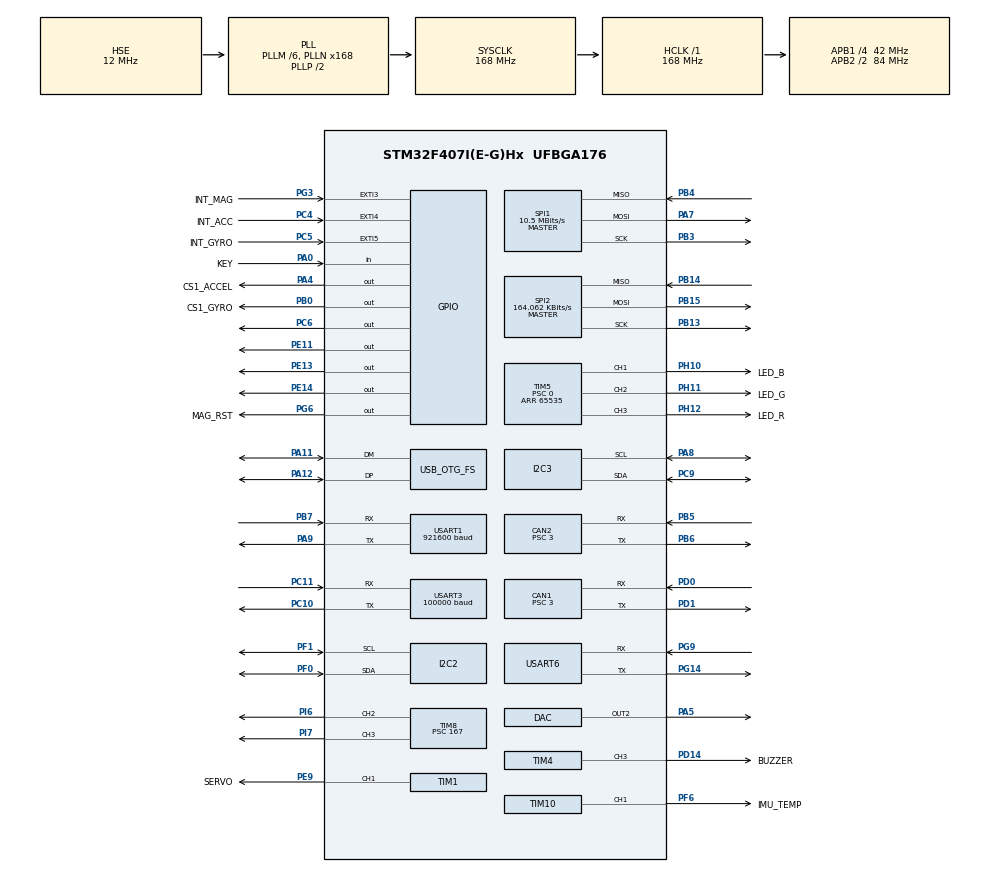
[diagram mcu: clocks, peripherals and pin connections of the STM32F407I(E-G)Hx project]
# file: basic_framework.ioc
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ADC1.Channel-0\#ChannelRegularConversion=ADC_CHANNEL_TEMPSENSOR
ADC1.ClockPrescaler=ADC_CLOCK_SYNC_PCLK_DIV6
ADC1.NbrOfConversionFlag=1
ADC1.Rank-0\#ChannelRegularConversion=1
ADC1.SamplingTime-0\#ChannelRegularConversion=ADC_SAMPLETIME_3CYCLES
ADC1.master=1
CAN1.BS1=CAN_BS1_10TQ
CAN1.BS2=CAN_BS2_3TQ
CAN1.CalculateBaudRate=1000000
CAN1.CalculateTimeQuantum=71.42857142857143
CAN1.NART=ENABLE
CAN1.Prescaler=3
CAN1.TXFP=ENABLE
CAN2.BS1=CAN_BS1_10TQ
CAN2.BS2=CAN_BS2_3TQ
CAN2.CalculateBaudRate=1000000
CAN2.CalculateTimeQuantum=71.42857142857143
CAN2.NART=ENABLE
CAN2.Prescaler=3
CAN2.TXFP=ENABLE
Dma.I2C2_RX.6.Direction=DMA_PERIPH_TO_MEMORY
Dma.I2C2_RX.6.FIFOMode=DMA_FIFOMODE_DISABLE
Dma.I2C2_RX.6.Instance=DMA1_Stream2
Dma.I2C2_RX.6.MemDataAlignment=DMA_MDATAALIGN_BYTE
Dma.I2C2_RX.6.MemInc=DMA_MINC_ENABLE
Dma.I2C2_RX.6.Mode=DMA_NORMAL
Dma.I2C2_RX.6.PeriphDataAlignment=DMA_PDATAALIGN_BYTE
Dma.I2C2_RX.6.PeriphInc=DMA_PINC_DISABLE
Dma.I2C2_RX.6.Priority=DMA_PRIORITY_LOW
Dma.I2C2_TX.7.Direction=DMA_MEMORY_TO_PERIPH
Dma.I2C2_TX.7.FIFOMode=DMA_FIFOMODE_DISABLE
Dma.I2C2_TX.7.Instance=DMA1_Stream7
Dma.I2C2_TX.7.MemDataAlignment=DMA_MDATAALIGN_BYTE
Dma.I2C2_TX.7.MemInc=DMA_MINC_ENABLE
Dma.I2C2_TX.7.Mode=DMA_NORMAL
Dma.I2C2_TX.7.PeriphDataAlignment=DMA_PDATAALIGN_BYTE
Dma.I2C2_TX.7.PeriphInc=DMA_PINC_DISABLE
Dma.I2C2_TX.7.Priority=DMA_PRIORITY_LOW
Dma.Request0=USART6_RX
Dma.Request1=USART6_TX
Dma.Request2=USART1_TX
Dma.Request3=USART1_RX
Dma.Request4=SPI1_RX
Dma.Request5=USART3_RX
Dma.Request6=I2C2_RX
Dma.Request7=I2C2_TX
Dma.Request8=SPI1_TX
Dma.SPI1_RX.4.Direction=DMA_PERIPH_TO_MEMORY
Dma.SPI1_RX.4.FIFOMode=DMA_FIFOMODE_ENABLE
Dma.SPI1_RX.4.FIFOThreshold=DMA_FIFO_THRESHOLD_FULL
Dma.SPI1_RX.4.Instance=DMA2_Stream0
Dma.SPI1_RX.4.MemBurst=DMA_MBURST_SINGLE
Dma.SPI1_RX.4.MemDataAlignment=DMA_MDATAALIGN_BYTE
Dma.SPI1_RX.4.MemInc=DMA_MINC_ENABLE
Dma.SPI1_RX.4.Mode=DMA_NORMAL
Dma.SPI1_RX.4.PeriphBurst=DMA_PBURST_SINGLE
Dma.SPI1_RX.4.PeriphDataAlignment=DMA_PDATAALIGN_BYTE
Dma.SPI1_RX.4.PeriphInc=DMA_PINC_DISABLE
Dma.SPI1_RX.4.Priority=DMA_PRIORITY_HIGH
Dma.SPI1_TX.8.Direction=DMA_MEMORY_TO_PERIPH
Dma.SPI1_TX.8.FIFOMode=DMA_FIFOMODE_DISABLE
Dma.SPI1_TX.8.Instance=DMA2_Stream3
Dma.SPI1_TX.8.MemDataAlignment=DMA_MDATAALIGN_BYTE
Dma.SPI1_TX.8.MemInc=DMA_MINC_ENABLE
Dma.SPI1_TX.8.Mode=DMA_NORMAL
Dma.SPI1_TX.8.PeriphDataAlignment=DMA_PDATAALIGN_BYTE
Dma.SPI1_TX.8.PeriphInc=DMA_PINC_DISABLE
Dma.SPI1_TX.8.Priority=DMA_PRIORITY_HIGH
Dma.USART1_RX.3.Direction=DMA_PERIPH_TO_MEMORY
Dma.USART1_RX.3.FIFOMode=DMA_FIFOMODE_DISABLE
Dma.USART1_RX.3.Instance=DMA2_Stream5
Dma.USART1_RX.3.MemDataAlignment=DMA_MDATAALIGN_BYTE
Dma.USART1_RX.3.MemInc=DMA_MINC_ENABLE
Dma.USART1_RX.3.Mode=DMA_NORMAL
Dma.USART1_RX.3.PeriphDataAlignment=DMA_PDATAALIGN_BYTE
Dma.USART1_RX.3.PeriphInc=DMA_PINC_DISABLE
Dma.USART1_RX.3.Priority=DMA_PRIORITY_VERY_HIGH
Dma.USART1_TX.2.Direction=DMA_MEMORY_TO_PERIPH
Dma.USART1_TX.2.FIFOMode=DMA_FIFOMODE_DISABLE
Dma.USART1_TX.2.Instance=DMA2_Stream7
Dma.USART1_TX.2.MemDataAlignment=DMA_MDATAALIGN_BYTE
Dma.USART1_TX.2.MemInc=DMA_MINC_ENABLE
Dma.USART1_TX.2.Mode=DMA_NORMAL
Dma.USART1_TX.2.PeriphDataAlignment=DMA_PDATAALIGN_BYTE
Dma.USART1_TX.2.PeriphInc=DMA_PINC_DISABLE
Dma.USART1_TX.2.Priority=DMA_PRIORITY_VERY_HIGH
Dma.USART3_RX.5.Direction=DMA_PERIPH_TO_MEMORY
Dma.USART3_RX.5.FIFOMode=DMA_FIFOMODE_DISABLE
Dma.USART3_RX.5.Instance=DMA1_Stream1
Dma.USART3_RX.5.MemDataAlignment=DMA_MDATAALIGN_BYTE
Dma.USART3_RX.5.MemInc=DMA_MINC_ENABLE
Dma.USART3_RX.5.Mode=DMA_NORMAL
Dma.USART3_RX.5.PeriphDataAlignment=DMA_PDATAALIGN_BYTE
Dma.USART3_RX.5.PeriphInc=DMA_PINC_DISABLE
Dma.USART3_RX.5.Priority=DMA_PRIORITY_LOW
Dma.USART6_RX.0.Direction=DMA_PERIPH_TO_MEMORY
Dma.USART6_RX.0.FIFOMode=DMA_FIFOMODE_ENABLE
Dma.USART6_RX.0.FIFOThreshold=DMA_FIFO_THRESHOLD_FULL
Dma.USART6_RX.0.Instance=DMA2_Stream2
Dma.USART6_RX.0.MemBurst=DMA_MBURST_SINGLE
Dma.USART6_RX.0.MemDataAlignment=DMA_MDATAALIGN_BYTE
Dma.USART6_RX.0.MemInc=DMA_MINC_ENABLE
Dma.USART6_RX.0.Mode=DMA_NORMAL
Dma.USART6_RX.0.PeriphBurst=DMA_PBURST_SINGLE
Dma.USART6_RX.0.PeriphDataAlignment=DMA_PDATAALIGN_BYTE
Dma.USART6_RX.0.PeriphInc=DMA_PINC_DISABLE
Dma.USART6_RX.0.Priority=DMA_PRIORITY_HIGH
Dma.USART6_TX.1.Direction=DMA_MEMORY_TO_PERIPH
Dma.USART6_TX.1.FIFOMode=DMA_FIFOMODE_ENABLE
Dma.USART6_TX.1.FIFOThreshold=DMA_FIFO_THRESHOLD_FULL
Dma.USART6_TX.1.Instance=DMA2_Stream6
Dma.USART6_TX.1.MemBurst=DMA_MBURST_SINGLE
Dma.USART6_TX.1.MemDataAlignment=DMA_MDATAALIGN_BYTE
Dma.USART6_TX.1.MemInc=DMA_MINC_ENABLE
Dma.USART6_TX.1.Mode=DMA_NORMAL
Dma.USART6_TX.1.PeriphBurst=DMA_PBURST_SINGLE
Dma.USART6_TX.1.PeriphDataAlignment=DMA_PDATAALIGN_BYTE
Dma.USART6_TX.1.PeriphInc=DMA_PINC_DISABLE
Dma.USART6_TX.1.Priority=DMA_PRIORITY_HIGH
FREERTOS.INCLUDE_vTaskDelayUntil=1
FREERTOS.Tasks01=defaultTask,0,128,StartDefaultTask,Default,NULL,Dynamic,NULL,NULL
FREERTOS.configENABLE_FPU=1
FREERTOS.configMAX_TASK_NAME_LEN=32
FREERTOS.configTOTAL_HEAP_SIZE=20000
FREERTOS.configUSE_COUNTING_SEMAPHORES=1
FREERTOS.configUSE_POSIX_ERRNO=0
FREERTOS.configUSE_TIMERS=0
I2C2.I2C_Mode=I2C_Fast
I2C3.I2C_Mode=I2C_Fast
Mcu.Family=STM32F4
Mcu.Name=STM32F407I(E-G)Hx
Mcu.Package=UFBGA176
NVIC.CAN1_RX0_IRQn=true\:5\:0\:true\:false\:true\:true\:true\:true\:true
NVIC.CAN1_RX1_IRQn=true\:5\:0\:false\:false\:true\:true\:true\:true\:true
NVIC.CAN2_RX0_IRQn=true\:5\:0\:true\:false\:true\:true\:true\:true\:true
NVIC.CAN2_RX1_IRQn=true\:5\:0\:false\:false\:true\:true\:true\:true\:true
NVIC.DMA1_Stream1_IRQn=true\:5\:0\:false\:false\:true\:true\:false\:true\:true
NVIC.DMA1_Stream2_IRQn=true\:5\:0\:false\:false\:true\:true\:false\:true\:true
NVIC.DMA1_Stream7_IRQn=true\:5\:0\:false\:false\:true\:true\:false\:true\:true
NVIC.DMA2_Stream0_IRQn=true\:5\:0\:false\:false\:true\:false\:false\:true\:true
NVIC.DMA2_Stream2_IRQn=true\:5\:0\:false\:false\:true\:true\:false\:true\:true
NVIC.DMA2_Stream3_IRQn=true\:5\:0\:false\:false\:true\:false\:false\:true\:true
NVIC.DMA2_Stream5_IRQn=true\:5\:0\:false\:false\:true\:false\:false\:true\:true
NVIC.DMA2_Stream6_IRQn=true\:5\:0\:true\:false\:true\:true\:false\:true\:true
NVIC.DMA2_Stream7_IRQn=true\:5\:0\:true\:false\:true\:true\:false\:true\:true
NVIC.EXTI3_IRQn=true\:5\:0\:true\:false\:true\:true\:true\:true\:true
NVIC.EXTI4_IRQn=true\:5\:0\:false\:false\:true\:true\:true\:true\:true
NVIC.EXTI9_5_IRQn=true\:5\:0\:false\:false\:true\:true\:true\:true\:true
NVIC.FLASH_IRQn=true\:6\:0\:true\:false\:true\:true\:true\:true\:true
NVIC.I2C2_ER_IRQn=true\:5\:0\:false\:false\:true\:true\:true\:true\:true
NVIC.I2C2_EV_IRQn=true\:5\:0\:false\:false\:true\:true\:true\:true\:true
NVIC.I2C3_ER_IRQn=true\:5\:0\:false\:false\:true\:true\:true\:true\:true
NVIC.I2C3_EV_IRQn=true\:5\:0\:false\:false\:true\:true\:true\:true\:true
NVIC.OTG_FS_IRQn=true\:5\:0\:false\:false\:true\:true\:false\:true\:true
NVIC.PriorityGroup=NVIC_PRIORITYGROUP_4
NVIC.SPI1_IRQn=true\:5\:0\:false\:false\:true\:true\:true\:true\:true
NVIC.SPI2_IRQn=true\:5\:0\:false\:false\:true\:true\:true\:true\:true
NVIC.TIM8_TRG_COM_TIM14_IRQn=true\:15\:0\:false\:false\:true\:false\:false\:true\:true
NVIC.TimeBase=TIM8_TRG_COM_TIM14_IRQn
NVIC.TimeBaseIP=TIM14
NVIC.USART1_IRQn=true\:5\:0\:false\:false\:true\:true\:true\:true\:true
NVIC.USART3_IRQn=true\:5\:0\:false\:false\:true\:true\:true\:true\:true
NVIC.USART6_IRQn=true\:5\:0\:false\:false\:true\:true\:true\:true\:true
PA0-WKUP.GPIO_Label=KEY
PA0-WKUP.GPIO_PuPd=GPIO_PULLUP
PA0-WKUP.Signal=GPIO_Input
PA10.Signal=USB_OTG_FS_ID
PA11.Mode=Device_Only
PA11.Signal=USB_OTG_FS_DM
PA12.Mode=Device_Only
PA12.Signal=USB_OTG_FS_DP
PA13.Mode=Serial_Wire
PA13.Signal=SYS_JTMS-SWDIO
PA14.Mode=Serial_Wire
PA14.Signal=SYS_JTCK-SWCLK
PA4.GPIO_Label=CS1_ACCEL
PA4.GPIO_PuPd=GPIO_PULLUP
PA4.GPIO_Speed=GPIO_SPEED_FREQ_HIGH
PA4.PinState=GPIO_PIN_SET
PA4.Signal=GPIO_Output
PA5.Signal=COMP_DAC2_group
PA7.GPIO_PuPd=GPIO_PULLUP
PA7.Mode=Full_Duplex_Master
PA7.Signal=SPI1_MOSI
PA8.Mode=I2C
PA8.Signal=I2C3_SCL
PA9.Mode=Asynchronous
PA9.Signal=USART1_TX
PB0.GPIO_Label=CS1_GYRO
PB0.GPIO_PuPd=GPIO_PULLUP
PB0.GPIO_Speed=GPIO_SPEED_FREQ_HIGH
PB0.PinState=GPIO_PIN_SET
PB0.Signal=GPIO_Output
PB13.Mode=Full_Duplex_Master
PB13.Signal=SPI2_SCK
PB14.Mode=Full_Duplex_Master
PB14.Signal=SPI2_MISO
PB15.Mode=Full_Duplex_Master
PB15.Signal=SPI2_MOSI
PB3.GPIO_PuPd=GPIO_PULLUP
PB3.Mode=Full_Duplex_Master
PB3.Signal=SPI1_SCK
PB4.GPIO_PuPd=GPIO_PULLUP
PB4.Mode=Full_Duplex_Master
PB4.Signal=SPI1_MISO
PB5.Mode=CAN_Activate
PB5.Signal=CAN2_RX
PB6.Mode=CAN_Activate
PB6.Signal=CAN2_TX
PB7.Mode=Asynchronous
PB7.Signal=USART1_RX
PC10.Mode=Asynchronous
PC10.Signal=USART3_TX
PC11.Mode=Asynchronous
PC11.Signal=USART3_RX
PC4.GPIO_Label=INT_ACC
PC4.GPIO_ModeDefaultEXTI=GPIO_MODE_IT_FALLING
PC4.Signal=GPXTI4
PC5.GPIO_Label=INT_GYRO
PC5.GPIO_ModeDefaultEXTI=GPIO_MODE_IT_FALLING
PC5.Signal=GPXTI5
PC6.GPIO_PuPd=GPIO_PULLDOWN
PC6.PinState=GPIO_PIN_RESET
PC6.Signal=GPIO_Output
PC9.Mode=I2C
PC9.Signal=I2C3_SDA
PD0.Mode=CAN_Activate
PD0.Signal=CAN1_RX
PD1.Mode=CAN_Activate
PD1.Signal=CAN1_TX
PD14.GPIO_Label=BUZZER
PD14.GPIO_PuPd=GPIO_PULLUP
PD14.GPIO_Speed=GPIO_SPEED_FREQ_VERY_HIGH
PD14.Signal=S_TIM4_CH3
PE11.GPIO_PuPd=GPIO_PULLDOWN
PE11.PinState=GPIO_PIN_RESET
PE11.Signal=GPIO_Output
PE13.GPIO_PuPd=GPIO_PULLDOWN
PE13.PinState=GPIO_PIN_RESET
PE13.Signal=GPIO_Output
PE14.GPIO_PuPd=GPIO_PULLDOWN
PE14.PinState=GPIO_PIN_RESET
PE14.Signal=GPIO_Output
PE9.GPIO_Label=SERVO
PE9.Signal=S_TIM1_CH1
PF0.Mode=I2C
PF0.Signal=I2C2_SDA
PF1.Mode=I2C
PF1.Signal=I2C2_SCL
PF6.GPIO_Label=IMU_TEMP
PF6.GPIO_PuPd=GPIO_PULLUP
PF6.GPIO_Speed=GPIO_SPEED_FREQ_HIGH
PF6.Signal=S_TIM10_CH1
PG14.Mode=Asynchronous
PG14.Signal=USART6_TX
PG3.GPIO_Label=INT_MAG
PG3.GPIO_ModeDefaultEXTI=GPIO_MODE_IT_FALLING
PG3.GPIO_PuPd=GPIO_PULLUP
PG3.Signal=GPXTI3
PG6.GPIO_Label=MAG_RST
PG6.Signal=GPIO_Output
PG9.Mode=Asynchronous
PG9.Signal=USART6_RX
PH0-OSC_IN.Mode=HSE-External-Oscillator
PH0-OSC_IN.Signal=RCC_OSC_IN
PH1-OSC_OUT.Mode=HSE-External-Oscillator
PH1-OSC_OUT.Signal=RCC_OSC_OUT
PH10.GPIO_Label=LED_B
PH10.GPIO_PuPd=GPIO_PULLUP
PH10.GPIO_Speed=GPIO_SPEED_FREQ_HIGH
PH10.Signal=S_TIM5_CH1
PH11.GPIO_Label=LED_G
PH11.GPIO_PuPd=GPIO_PULLUP
PH11.GPIO_Speed=GPIO_SPEED_FREQ_HIGH
PH11.Signal=S_TIM5_CH2
PH12.GPIO_Label=LED_R
PH12.GPIO_PuPd=GPIO_PULLUP
PH12.GPIO_Speed=GPIO_SPEED_FREQ_HIGH
PH12.Signal=S_TIM5_CH3
PI6.Signal=S_TIM8_CH2
PI7.Signal=S_TIM8_CH3
ProjectManager.HeapSize=0x5000
ProjectManager.StackSize=0x5000
ProjectManager.TargetToolchain=Makefile
RCC.48MHZClocksFreq_Value=48000000
RCC.AHBFreq_Value=168000000
RCC.APB1CLKDivider=RCC_HCLK_DIV4
RCC.APB1Freq_Value=42000000
RCC.APB1TimFreq_Value=84000000
RCC.APB2CLKDivider=RCC_HCLK_DIV2
RCC.APB2Freq_Value=84000000
RCC.APB2TimFreq_Value=168000000
RCC.CortexFreq_Value=168000000
RCC.HCLKFreq_Value=168000000
RCC.HSE_VALUE=12000000
RCC.HSI_VALUE=16000000
RCC.LSE_VALUE=32768
RCC.PLLM=6
RCC.PLLN=168
RCC.PLLQ=7
RCC.RCC_RTC_Clock_SourceVirtual=RCC_RTCCLKSOURCE_HSE_DIV30
RCC.RCC_RTC_Clock_Source_FROM_HSE=RCC_RTCCLKSOURCE_HSE_DIV30
RCC.SYSCLKFreq_VALUE=168000000
RCC.SYSCLKSource=RCC_SYSCLKSOURCE_PLLCLK
RCC.VCOOutputFreq_Value=336000000
RTC.AsynchPrediv=124
RTC.SynchPrediv=3199
SH.COMP_DAC2_group.0=DAC_OUT2,DAC_OUT2
SH.S_TIM10_CH1.0=TIM10_CH1,PWM Generation1 CH1
SH.S_TIM1_CH1.0=TIM1_CH1,PWM Generation1 CH1
SH.S_TIM4_CH3.0=TIM4_CH3,PWM Generation3 CH3
SH.S_TIM5_CH1.0=TIM5_CH1,PWM Generation1 CH1
SH.S_TIM5_CH2.0=TIM5_CH2,PWM Generation2 CH2
SH.S_TIM5_CH3.0=TIM5_CH3,PWM Generation3 CH3
SH.S_TIM8_CH2.0=TIM8_CH2,Output Compare2 CH2
SH.S_TIM8_CH3.0=TIM8_CH3,Output Compare3 CH3
SPI1.BaudRatePrescaler=SPI_BAUDRATEPRESCALER_8
SPI1.CLKPhase=SPI_PHASE_2EDGE
SPI1.CLKPolarity=SPI_POLARITY_HIGH
SPI1.CalculateBaudRate=10.5 MBits/s
SPI1.Direction=SPI_DIRECTION_2LINES
SPI1.Mode=SPI_MODE_MASTER
SPI1.VirtualType=VM_MASTER
SPI2.BaudRatePrescaler=SPI_BAUDRATEPRESCALER_256
SPI2.CLKPhase=SPI_PHASE_2EDGE
SPI2.CLKPolarity=SPI_POLARITY_HIGH
SPI2.CalculateBaudRate=164.062 KBits/s
SPI2.Direction=SPI_DIRECTION_2LINES
SPI2.Mode=SPI_MODE_MASTER
SPI2.VirtualType=VM_MASTER
STMicroelectronics.X-CUBE-ALGOBUILD.1.3.0.LibraryCcDSPOoLibraryJjDSPOoLibrary=true
TIM1.Channel-PWM\ Generation1\ CH1=TIM_CHANNEL_1
TIM1.Period=19999
TIM1.Prescaler=167
TIM10.Channel=TIM_CHANNEL_1
TIM10.Period=5000-1
TIM10.Prescaler=167
TIM4.Channel-PWM\ Generation3\ CH3=TIM_CHANNEL_3
TIM4.Period=65535
TIM4.Prescaler=167
TIM5.Channel-PWM\ Generation1\ CH1=TIM_CHANNEL_1
TIM5.Channel-PWM\ Generation2\ CH2=TIM_CHANNEL_2
TIM5.Channel-PWM\ Generation3\ CH3=TIM_CHANNEL_3
TIM5.Period=65535
TIM5.Prescaler=0
TIM8.Channel-Output\ Compare2\ CH2=TIM_CHANNEL_2
TIM8.Channel-Output\ Compare3\ CH3=TIM_CHANNEL_3
TIM8.Period=19999
TIM8.Prescaler=167
USART1.BaudRate=921600
USART1.VirtualMode=VM_ASYNC
USART3.BaudRate=100000
USART3.Parity=PARITY_EVEN
USART3.VirtualMode=VM_ASYNC
USART3.WordLength=WORDLENGTH_9B
USART6.VirtualMode=VM_ASYNC
USB_DEVICE.CLASS_NAME_FS=CDC
USB_DEVICE.MANUFACTURER_STRING-CDC_FS=YueLuEmbedded
USB_DEVICE.PID_CDC_FS=202
USB_DEVICE.PRODUCT_STRING_CDC_FS=Vision Comm port
USB_DEVICE.VirtualMode-CDC_FS=Cdc
USB_DEVICE.VirtualModeFS=Cdc_FS
USB_OTG_FS.VirtualMode=Device_Only
VP_ADC1_TempSens_Input.Mode=IN-TempSens
VP_ADC1_Vref_Input.Mode=IN-Vrefint
VP_CRC_VS_CRC.Mode=CRC_Activate
VP_FREERTOS_VS_CMSIS_V1.Mode=CMSIS_V1
VP_RNG_VS_RNG.Mode=RNG_Activate
VP_RTC_VS_RTC_Activate.Mode=RTC_Enabled
VP_STMicroelectronics.X-CUBE-ALGOBUILD_VS_DSPOoLibraryJjLibrary_1.3.0_1.3.0.Mode=DSPOoLibraryJjLibrary
VP_SYS_VS_tim14.Mode=TIM14
VP_TIM10_VS_ClockSourceINT.Mode=Enable_Timer
VP_TIM1_VS_ClockSourceINT.Mode=Internal
VP_TIM4_VS_ClockSourceINT.Mode=Internal
VP_TIM5_VS_ClockSourceINT.Mode=Internal
VP_TIM8_VS_ClockSourceINT.Mode=Internal
VP_USB_DEVICE_VS_USB_DEVICE_CDC_FS.Mode=CDC_FS
board=custom

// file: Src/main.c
/* USER CODE BEGIN Header */
/**
 ******************************************************************************
 * @file           : main.c
 * @brief          : Main program body
 ******************************************************************************
 * @attention
 *
 * Copyright (c) 2023 STMicroelectronics.
 * All rights reserved.
 *
 * This software is licensed under terms that can be found in the LICENSE file
 * in the root directory of this software component.
 * If no LICENSE file comes with this software, it is provided AS-IS.
 *
 ******************************************************************************
 */
/* USER CODE END Header */
#include "main.h"
#include "adc.h"
#include "can.h"
#include "cmsis_os.h"
#include "crc.h"
#include "dac.h"
#include "dma.h"
#include "gpio.h"
#include "i2c.h"
#include "rng.h"
#include "rtc.h"
#include "spi.h"
#include "tim.h"
#include "usart.h"
#include "usb_device.h"

/* USER CODE BEGIN Includes */
#include "at24c02.h"
#include "bsp_log.h"
#include "robot.h"

/* USER CODE END Includes */

/* USER CODE BEGIN PTD */
int _write(int file, char *ptr, int len) {
  // 将一个字符串通过 UART1 发送出去
  HAL_UART_Transmit(&huart1, (uint8_t *)ptr, len, HAL_MAX_DELAY);
  return len;
}
static void DebugFreeze_Init(void) {
/* F4 通常不需要给 DBGMCU 额外开时钟，没有该宏也没关系 */
#if defined(__HAL_RCC_DBGMCU_CLK_ENABLE)
  __HAL_RCC_DBGMCU_CLK_ENABLE();
#endif

/* --- 定时器冻结（按需保留/都留也行，有宏才会编译） --- */
#ifdef __HAL_DBGMCU_FREEZE_TIM1
  __HAL_DBGMCU_FREEZE_TIM1();
#endif
#ifdef __HAL_DBGMCU_FREEZE_TIM8
  __HAL_DBGMCU_FREEZE_TIM8();
#endif
#ifdef __HAL_DBGMCU_FREEZE_TIM2
  __HAL_DBGMCU_FREEZE_TIM2();
#endif
#ifdef __HAL_DBGMCU_FREEZE_TIM3
  __HAL_DBGMCU_FREEZE_TIM3();
#endif
#ifdef __HAL_DBGMCU_FREEZE_TIM4
  __HAL_DBGMCU_FREEZE_TIM4();
#endif
#ifdef __HAL_DBGMCU_FREEZE_TIM5
  __HAL_DBGMCU_FREEZE_TIM5();
#endif
#ifdef __HAL_DBGMCU_FREEZE_TIM6
  __HAL_DBGMCU_FREEZE_TIM6();
#endif
#ifdef __HAL_DBGMCU_FREEZE_TIM7
  __HAL_DBGMCU_FREEZE_TIM7();
#endif
#ifdef __HAL_DBGMCU_FREEZE_TIM12
  __HAL_DBGMCU_FREEZE_TIM12();
#endif
#ifdef __HAL_DBGMCU_FREEZE_TIM13
  __HAL_DBGMCU_FREEZE_TIM13();
#endif
#ifdef __HAL_DBGMCU_FREEZE_TIM14
  __HAL_DBGMCU_FREEZE_TIM14();
#endif

/* --- 看门狗冻结 --- */
#ifdef __HAL_DBGMCU_FREEZE_IWDG
  __HAL_DBGMCU_FREEZE_IWDG();
#endif
#ifdef __HAL_DBGMCU_FREEZE_WWDG
  __HAL_DBGMCU_FREEZE_WWDG();
#endif

/* --- I2C 超时（有就冻，没有就跳过）--- */
#ifdef __HAL_DBGMCU_FREEZE_I2C1_TIMEOUT
  __HAL_DBGMCU_FREEZE_I2C1_TIMEOUT();
#endif
#ifdef __HAL_DBGMCU_FREEZE_I2C2_TIMEOUT
  __HAL_DBGMCU_FREEZE_I2C2_TIMEOUT();
#endif
#ifdef __HAL_DBGMCU_FREEZE_I2C3_TIMEOUT
  __HAL_DBGMCU_FREEZE_I2C3_TIMEOUT();
#endif

/* --- CAN1/2 冻结（F4 有寄存器位；有 HAL 宏用宏，没宏用寄存器位） --- */
#ifdef __HAL_DBGMCU_FREEZE_CAN1
  __HAL_DBGMCU_FREEZE_CAN1();
#elif defined(DBGMCU_APB1_FZ_DBG_CAN1_STOP)
  DBGMCU->APB1FZ |= DBGMCU_APB1_FZ_DBG_CAN1_STOP;
#endif

#ifdef __HAL_DBGMCU_FREEZE_CAN2
  __HAL_DBGMCU_FREEZE_CAN2();
#elif defined(DBGMCU_APB1_FZ_DBG_CAN2_STOP)
  DBGMCU->APB1FZ |= DBGMCU_APB1_FZ_DBG_CAN2_STOP;
#endif
}
/* USER CODE END PTD */

/* USER CODE BEGIN PV */
uint8_t adr = 0;
/* USER CODE END PV */

void SystemClock_Config(void);
void MX_FREERTOS_Init(void);

int main(void) {

  /* MCU Configuration--------------------------------------------------------*/

  /* Reset of all peripherals, Initializes the Flash interface and the Systick.
   */
  HAL_Init();

  /* Configure the system clock */
  SystemClock_Config();

  /* USER CODE BEGIN SysInit */
  DebugFreeze_Init();
  /* USER CODE END SysInit */

  /* Initialize all configured peripherals */
  MX_GPIO_Init();
  MX_DMA_Init();
  MX_ADC1_Init();
  MX_CAN1_Init();
  MX_CAN2_Init();
  MX_SPI1_Init();
  MX_TIM4_Init();
  MX_TIM5_Init();
  MX_USART3_UART_Init();
  MX_RNG_Init();
  MX_RTC_Init();
  MX_TIM1_Init();
  MX_TIM10_Init();
  MX_USART1_UART_Init();
  MX_USART6_UART_Init();
  MX_TIM8_Init();
  MX_I2C2_Init();
  MX_I2C3_Init();
  // Soft_SPI_GPIO_Init();
  MX_SPI2_Init();
  MX_CRC_Init();
  MX_DAC_Init();
  /* USER CODE BEGIN 2 */
  RobotInit(); // 唯一的初始化函数
  LOGINFO("[main] SystemInit() and RobotInit() done");
  /* USER CODE END 2 */

  /* Call init function for freertos objects (in freertos.c) */
  MX_FREERTOS_Init();

  /* Start scheduler */
  osKernelStart();

  /* We should never get here as control is now taken by the scheduler */
  /* Infinite loop */
  while (1) {

  }
}

void SystemClock_Config(void) {
  RCC_OscInitTypeDef RCC_OscInitStruct = {0};
  RCC_ClkInitTypeDef RCC_ClkInitStruct = {0};

  /** Configure the main internal regulator output voltage
   */
  __HAL_RCC_PWR_CLK_ENABLE();
  __HAL_PWR_VOLTAGESCALING_CONFIG(PWR_REGULATOR_VOLTAGE_SCALE1);

  /** Initializes the RCC Oscillators according to the specified parameters
   * in the RCC_OscInitTypeDef structure.
   */
  RCC_OscInitStruct.OscillatorType = RCC_OSCILLATORTYPE_HSE;
  RCC_OscInitStruct.HSEState = RCC_HSE_ON;
  RCC_OscInitStruct.PLL.PLLState = RCC_PLL_ON;
  RCC_OscInitStruct.PLL.PLLSource = RCC_PLLSOURCE_HSE;
  RCC_OscInitStruct.PLL.PLLM = 6;
  RCC_OscInitStruct.PLL.PLLN = 168;
  RCC_OscInitStruct.PLL.PLLP = RCC_PLLP_DIV2;
  RCC_OscInitStruct.PLL.PLLQ = 7;
  if (HAL_RCC_OscConfig(&RCC_OscInitStruct) != HAL_OK) {
    Error_Handler();
  }

  /** Initializes the CPU, AHB and APB buses clocks
   */
  RCC_ClkInitStruct.ClockType = RCC_CLOCKTYPE_HCLK | RCC_CLOCKTYPE_SYSCLK |
                                RCC_CLOCKTYPE_PCLK1 | RCC_CLOCKTYPE_PCLK2;
  RCC_ClkInitStruct.SYSCLKSource = RCC_SYSCLKSOURCE_PLLCLK;
  RCC_ClkInitStruct.AHBCLKDivider = RCC_SYSCLK_DIV1;
  RCC_ClkInitStruct.APB1CLKDivider = RCC_HCLK_DIV4;
  RCC_ClkInitStruct.APB2CLKDivider = RCC_HCLK_DIV2;

  if (HAL_RCC_ClockConfig(&RCC_ClkInitStruct, FLASH_LATENCY_5) != HAL_OK) {
    Error_Handler();
  }
}

void HAL_TIM_PeriodElapsedCallback(TIM_HandleTypeDef *htim) {
  if (htim->Instance == TIM14) {
    HAL_IncTick();
  }
}

void Error_Handler(void) {
  __disable_irq();
  while (1) {
  }
}

#ifdef USE_FULL_ASSERT
/**
 * @brief  Reports the name of the source file and the source line number
 *         where the assert_param error has occurred.
 * @param  file: pointer to the source file name
 * @param  line: assert_param error line source number
 * @retval None
 */
void assert_failed(uint8_t *file, uint32_t line) {
  /* USER CODE BEGIN 6 */
  /* User can add his own implementation to report the file name and line
     number, ex: printf("Wrong parameters value: file %s on line %d\r\n", file,
     line) */
  /* USER CODE END 6 */
}
#endif /* USE_FULL_ASSERT */

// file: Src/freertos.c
/* USER CODE BEGIN Header */
/**
 ******************************************************************************
 * File Name          : freertos.c
 * Description        : Code for freertos applications
 ******************************************************************************
 * @attention
 *
 * Copyright (c) 2023 STMicroelectronics.
 * All rights reserved.
 *
 * This software is licensed under terms that can be found in the LICENSE file
 * in the root directory of this software component.
 * If no LICENSE file comes with this software, it is provided AS-IS.
 *
 ******************************************************************************
 */
/* USER CODE END Header */

#include "FreeRTOS.h"
#include "task.h"
#include "main.h"
#include "cmsis_os.h"

osThreadId defaultTaskHandle;

void StartDefaultTask(void const * argument);

extern void MX_USB_DEVICE_Init(void);
void MX_FREERTOS_Init(void); /* (MISRA C 2004 rule 8.1) */

/* GetIdleTaskMemory prototype (linked to static allocation support) */
void vApplicationGetIdleTaskMemory( StaticTask_t **ppxIdleTaskTCBBuffer, StackType_t **ppxIdleTaskStackBuffer, uint32_t *pulIdleTaskStackSize );

/* USER CODE BEGIN GET_IDLE_TASK_MEMORY */
static StaticTask_t xIdleTaskTCBBuffer;
static StackType_t xIdleStack[configMINIMAL_STACK_SIZE];

void vApplicationGetIdleTaskMemory(StaticTask_t **ppxIdleTaskTCBBuffer, StackType_t **ppxIdleTaskStackBuffer, uint32_t *pulIdleTaskStackSize)
{
  *ppxIdleTaskTCBBuffer = &xIdleTaskTCBBuffer;
  *ppxIdleTaskStackBuffer = &xIdleStack[0];
  *pulIdleTaskStackSize = configMINIMAL_STACK_SIZE;
  /* place for user code */
}
/* USER CODE END GET_IDLE_TASK_MEMORY */

void MX_FREERTOS_Init(void) {

  /* Create the thread(s) */
  /* definition and creation of defaultTask */
  osThreadDef(defaultTask, StartDefaultTask, osPriorityNormal, 0, 128);
  defaultTaskHandle = osThreadCreate(osThread(defaultTask), NULL);

}

void StartDefaultTask(void const * argument)
{
  /* init code for USB_DEVICE */
  MX_USB_DEVICE_Init();
  /* USER CODE BEGIN StartDefaultTask */
  osThreadTerminate(NULL); // 避免空置和切换占用cpu
  /* USER CODE END StartDefaultTask */
}
